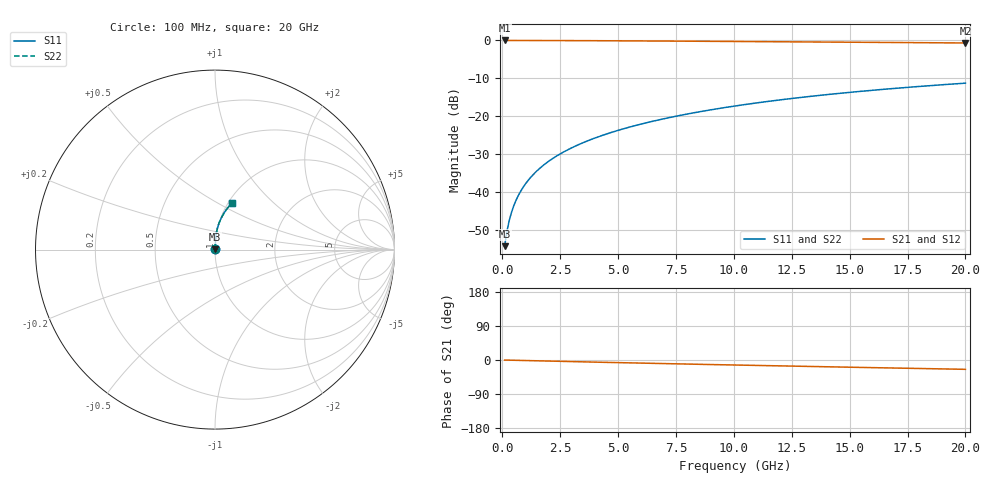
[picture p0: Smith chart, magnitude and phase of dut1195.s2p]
! Touchstone file exported from HFSS 2024.1.0
!  File:  C:/UserFiles/LocalFiles/RDL_TSV_Batchsim/temp_RDL_bottom_1195_1780057826.aedt
!  Generated:  08:33:04 PM May 29, 2026
!  Design:  RDL_bottom
!  Project:  temp_RDL_bottom_1195_1780057826
!  Setup:  Setup1
!  Solution:  Sweep
! Variables:
!  dtsv = 10.80580581um
!  hbump = 3um
!  htsv = 82.11um
!  ldown = 297.29um
!  lrdl = 100um
!  p = 40
!  p1 = 56.99um
!  rhole = 1um
!  t = 450um
!  tdown = 4.05um
!  trdl = 3.915915916um
!  wdown = 21.06um
!  wrdl = 20um
# GHz S MA R 50.000000
! Terminal data exported
! Port[1] = RDL1_T1
! Port[2] = RDL1_T2
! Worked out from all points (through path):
!   200 points, 100 MHz to 20 GHz, reference 50 ohm
!   highest |S21| = -0.01 dB at 100 MHz (marker M1); lowest = -0.7 dB at 20 GHz (marker M2)
!   group delay of S21, straight-line fit = 3.39 ps
!   lowest |S11| = -54.2 dB at 100 MHz (marker M3), VSWR 1.00, Z = 50.1 + j0.136 ohm
!   |S11| at or under -10 dB: start of sweep to end of sweep
!   |S22| runs from -54.2 to -11.3 dB; largest |S21 - S12| = 4.3e-15
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0.1  0.001959 43.8  0.9986 -0.1  0.9986 -0.1  0.001959 43.8
! Gamma 0 0 0 0
! Port Impedance 50 0 50 0
0.2  0.003061 61.3  0.9985 -0.3  0.9985 -0.3  0.003061 61.3
0.3  0.004264 68.9  0.9984 -0.4  0.9984 -0.4  0.004264 68.9
0.4  0.005486 73.2  0.9983 -0.6  0.9983 -0.6  0.005486 73.2
0.5  0.006713 75.9  0.9983 -0.7  0.9983 -0.7  0.006713 75.9
0.6  0.007946 77.9  0.9982 -0.9  0.9982 -0.9  0.007946 77.9
0.8  0.01043 80.5  0.998 -1.2  0.998 -1.2  0.01043 80.5
1.1  0.01418 82.8  0.9977 -1.6  0.9977 -1.6  0.01418 82.8
1.5  0.01924 84.5  0.9972 -2.1  0.9972 -2.1  0.01924 84.5
1.8  0.02307 85.3  0.9968 -2.6  0.9968 -2.6  0.02307 85.3
2.1  0.02692 85.8  0.9962 -3.0  0.9962 -3.0  0.02692 85.8
2.7  0.03469 86.4  0.995 -3.8  0.995 -3.8  0.03469 86.4
3.5  0.04523 86.7  0.9929 -4.9  0.9929 -4.9  0.04523 86.7
4.2  0.0546 86.7  0.9908 -5.9  0.9908 -5.9  0.0546 86.7
5  0.06549 86.5  0.9881 -6.9  0.9881 -6.9  0.06549 86.5
5.9  0.07795 86.0  0.9849 -8.1  0.9849 -8.1  0.07795 86.0
6.8  0.09059 85.4  0.9815 -9.3  0.9815 -9.3  0.09059 85.4
8.4  0.1134 84.0  0.9752 -11.3  0.9752 -11.3  0.1134 84.0
10.1  0.1378 82.2  0.9683 -13.3  0.9683 -13.3  0.1378 82.2
13.4  0.1848 78.3  0.9544 -17.2  0.9544 -17.2  0.1848 78.3
16.7  0.2304 74.2  0.94 -21.0  0.94 -21.0  0.2304 74.2
20  0.2737 70.3  0.925 -24.6  0.925 -24.6  0.2738 70.3
